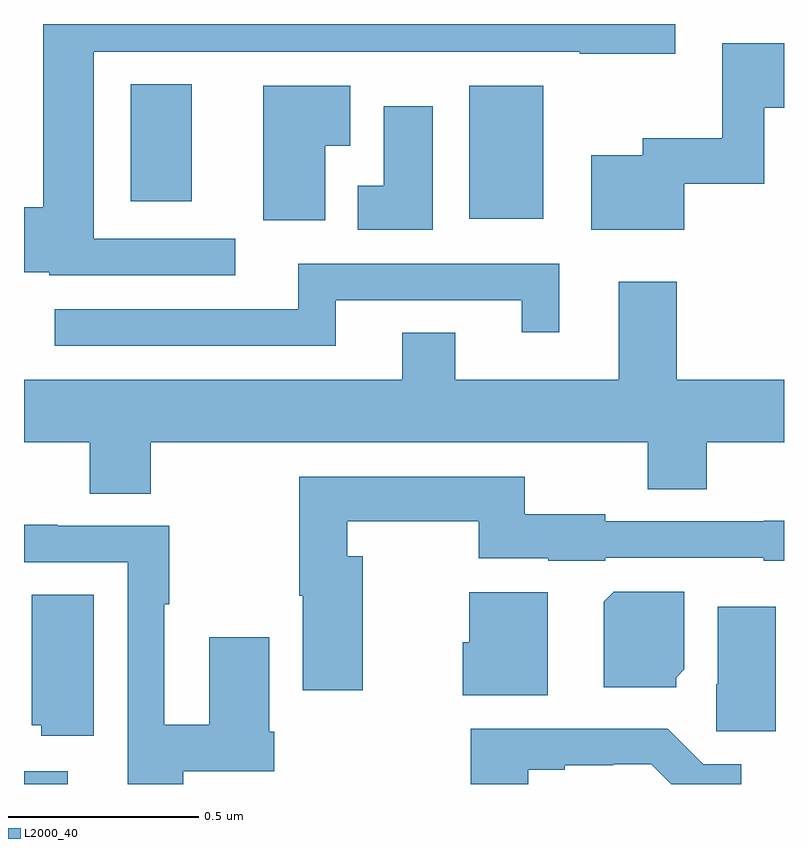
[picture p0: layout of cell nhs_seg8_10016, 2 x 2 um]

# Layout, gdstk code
import gdstk
lib = gdstk.Library(unit=1e-6, precision=1e-09)
def R(c, l, rs):  # rectangles x0, y0, x1, y1
    for r in rs: c.add(gdstk.rectangle(r[:2], r[2:], *l))
def P(c, l, *ps):  # polygons
    for p in ps: c.add(gdstk.Polygon(p, *l))
L2000_40 = (2000, 40)

nhs_seg8_10016 = lib.new_cell('nhs_seg8_10016')
R(nhs_seg8_10016, L2000_40, [(243,1148.9,243.115,1148.934), (244.172,1150.388,244.366,1150.738), (243.281,1150.434,243.442,1150.742)])
P(nhs_seg8_10016, L2000_40, [(243.556,1150.335),(243.184,1150.335),(243.184,1150.827),(244.462,1150.827),(244.462,1150.822),(244.714,1150.822),(244.714,1150.9),(243.05,1150.9),(243.05,1150.418),(243,1150.418),(243,1150.247),(243.066,1150.247),(243.066,1150.239),(243.556,1150.239)],
  [(244.738,1150.48),(244.948,1150.48),(244.948,1150.679),(245,1150.679),(245,1150.849),(244.838,1150.849),(244.838,1150.599),(244.628,1150.599),(244.628,1150.555),(244.493,1150.555),(244.493,1150.358),(244.738,1150.358)],
  [(243.793,1150.58),(243.859,1150.58),(243.859,1150.738),(243.629,1150.738),(243.629,1150.383),(243.793,1150.383)],
  [(244.075,1150.684),(243.947,1150.684),(243.947,1150.474),(243.878,1150.474),(243.878,1150.358),(244.075,1150.358)],
  [(243.82,1150.173),(244.31,1150.173),(244.31,1150.089),(244.408,1150.089),(244.408,1150.269),(243.722,1150.269),(243.722,1150.149),(243.081,1150.149),(243.081,1150.053),(243.82,1150.053)],
  [(243.333,1149.8),(244.642,1149.8),(244.642,1149.676),(244.797,1149.676),(244.797,1149.8),(245,1149.8),(245,1149.964),(244.718,1149.964),(244.718,1150.222),(244.565,1150.222),(244.565,1149.964),(244.135,1149.964),(244.135,1150.088),(243.995,1150.088),(243.995,1149.964),(243,1149.964),(243,1149.8),(243.173,1149.8),(243.173,1149.664),(243.333,1149.664)],
  [(243.892,1149.499),(243.85,1149.499),(243.85,1149.592),(244.197,1149.592),(244.197,1149.494),(244.38,1149.494),(244.38,1149.488),(244.53,1149.488),(244.53,1149.495),(244.947,1149.495),(244.947,1149.488),(245,1149.488),(245,1149.593),(244.947,1149.593),(244.947,1149.591),(244.53,1149.591),(244.53,1149.61),(244.318,1149.61),(244.318,1149.708),(243.724,1149.708),(243.724,1149.395),(243.734,1149.395),(243.734,1149.147),(243.892,1149.147)],
  [(243.419,1148.933),(243.659,1148.933),(243.659,1149.037),(243.646,1149.037),(243.646,1149.286),(243.488,1149.286),(243.488,1149.056),(243.369,1149.056),(243.369,1149.373),(243.382,1149.373),(243.382,1149.579),(243.089,1149.579),(243.089,1149.582),(243,1149.582),(243,1149.483),(243.273,1149.483),(243.273,1148.9),(243.419,1148.9)],
  [(244.716,1149.18),(244.738,1149.202),(244.738,1149.406),(244.552,1149.406),(244.526,1149.38),(244.526,1149.155),(244.716,1149.155)],
  [(244.378,1149.404),(244.172,1149.404),(244.172,1149.273),(244.154,1149.273),(244.154,1149.134),(244.378,1149.134)],
  [(243.184,1149.398),(243.02,1149.398),(243.02,1149.054),(243.045,1149.054),(243.045,1149.027),(243.184,1149.027)],
  [(244.978,1149.367),(244.826,1149.367),(244.826,1149.162),(244.822,1149.162),(244.822,1149.039),(244.978,1149.039)],
  [(244.327,1148.937),(244.423,1148.937),(244.423,1148.949),(244.55,1148.949),(244.55,1148.952),(244.65,1148.952),(244.703,1148.9),(244.888,1148.9),(244.888,1148.952),(244.788,1148.952),(244.694,1149.046),(244.175,1149.046),(244.175,1148.9),(244.327,1148.9)])

lib.write_gds('nhs_seg8_10016.gds')
